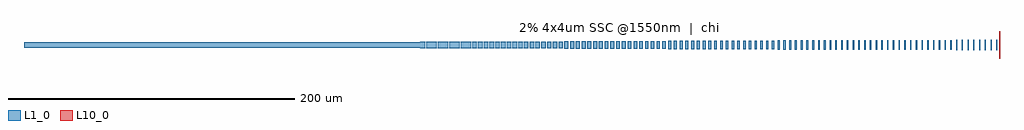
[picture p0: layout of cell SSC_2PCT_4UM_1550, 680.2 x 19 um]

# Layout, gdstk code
import gdstk
lib = gdstk.Library(unit=1e-6, precision=1e-09)
def R(c, l, rs):  # rectangles x0, y0, x1, y1
    for r in rs: c.add(gdstk.rectangle(r[:2], r[2:], *l))
L1_0 = (1, 0)
L10_0 = (10, 0)

ssc_2pct_4um_1550 = lib.new_cell('SSC_2PCT_4UM_1550')
R(ssc_2pct_4um_1550, L1_0, [(523.6,-3.5,524.4,3.5), (527.6,-3.5,528.4,3.5), (519.599,-3.499,520.401,3.499), (515.598,-3.498,516.402,3.498), (511.596,-3.496,512.404,3.496), (507.593,-3.493,508.407,3.493), (503.591,-3.491,504.409,3.491), (499.587,-3.487,500.413,3.487), (495.583,-3.483,496.417,3.483), (491.579,-3.479,492.421,3.479), (487.574,-3.474,488.426,3.474), (483.569,-3.469,484.431,3.469), (479.563,-3.463,480.437,3.463), (475.556,-3.456,476.444,3.456), (471.549,-3.449,472.451,3.449), (467.542,-3.442,468.458,3.442), (463.534,-3.434,464.466,3.434), (459.526,-3.426,460.474,3.426), (455.517,-3.417,456.483,3.417), (451.508,-3.408,452.492,3.408), (447.498,-3.398,448.502,3.398), (443.488,-3.388,444.512,3.388), (439.477,-3.377,440.523,3.377), (435.466,-3.366,436.534,3.366), (431.454,-3.354,432.546,3.354), (427.442,-3.342,428.558,3.342), (423.43,-3.33,424.57,3.33), (419.417,-3.317,420.583,3.317), (415.404,-3.304,416.596,3.304), (411.391,-3.291,412.609,3.291), (407.377,-3.277,408.623,3.277), (403.363,-3.263,404.637,3.263), (399.348,-3.248,400.652,3.248), (395.333,-3.233,396.667,3.233), (391.318,-3.218,392.682,3.218), (387.302,-3.202,388.698,3.202), (383.286,-3.186,384.714,3.186), (379.27,-3.17,380.73,3.17), (375.253,-3.153,376.747,3.153), (371.236,-3.136,372.764,3.136), (367.219,-3.119,368.781,3.119), (363.202,-3.102,364.798,3.102), (359.184,-3.084,360.816,3.084), (355.166,-3.066,356.834,3.066), (351.148,-3.048,352.852,3.048), (347.13,-3.03,348.87,3.03), (343.112,-3.012,344.888,3.012), (339.093,-2.993,340.907,2.993), (335.074,-2.974,336.926,2.974), (331.055,-2.955,332.945,2.955), (327.036,-2.936,328.964,2.936), (323.017,-2.917,324.983,2.917), (318.998,-2.898,321.002,2.898), (314.978,-2.878,317.022,2.878), (310.959,-2.859,313.041,2.859), (306.939,-2.839,309.061,2.839), (302.919,-2.819,305.081,2.819), (298.899,-2.799,301.101,2.799), (294.88,-2.78,297.12,2.78), (290.86,-2.76,293.14,2.76), (286.84,-2.74,289.16,2.74), (282.82,-2.72,285.18,2.72), (278.801,-2.701,281.199,2.701), (274.781,-2.681,277.219,2.681), (270.761,-2.661,273.239,2.661), (266.741,-2.641,269.259,2.641), (262.722,-2.622,265.278,2.622), (258.702,-2.602,261.298,2.602), (254.683,-2.583,257.317,2.583), (250.664,-2.564,253.336,2.564), (246.645,-2.545,249.355,2.545), (242.626,-2.526,245.374,2.526), (238.607,-2.507,241.393,2.507), (234.588,-2.488,237.412,2.488), (230.57,-2.47,233.43,2.47), (226.552,-2.452,229.448,2.452), (222.534,-2.434,225.466,2.434), (218.516,-2.416,221.484,2.416), (214.498,-2.398,217.502,2.398), (210.481,-2.381,213.519,2.381), (206.464,-2.364,209.536,2.364), (202.447,-2.347,205.553,2.347), (198.43,-2.33,201.57,2.33), (194.414,-2.314,197.586,2.314), (190.398,-2.298,193.602,2.298), (186.382,-2.282,189.618,2.282), (182.367,-2.267,185.633,2.267), (178.352,-2.252,181.648,2.252), (174.337,-2.237,177.663,2.237), (170.323,-2.223,173.677,2.223), (166.309,-2.209,169.691,2.209), (162.296,-2.196,165.704,2.196), (158.283,-2.183,161.717,2.183), (154.27,-2.17,157.73,2.17), (150.258,-2.158,153.742,2.158), (146.246,-2.146,149.754,2.146), (142.234,-2.134,145.766,2.134), (138.223,-2.123,141.777,2.123), (134.212,-2.112,137.788,2.112), (130.202,-2.102,133.798,2.102), (126.192,-2.092,129.808,2.092), (122.183,-2.083,125.817,2.083), (118.174,-2.074,121.826,2.074), (114.166,-2.066,117.834,2.066), (110.158,-2.058,113.842,2.058), (106.151,-2.051,109.849,2.051), (102.144,-2.044,105.856,2.044), (98.137,-2.037,101.863,2.037), (94.131,-2.031,97.869,2.031), (90.126,-2.026,93.874,2.026), (86.121,-2.021,89.879,2.021), (82.117,-2.017,85.883,2.017), (78.113,-2.013,81.887,2.013), (74.109,-2.009,77.891,2.009), (70.107,-2.007,73.893,2.007), (66.104,-2.004,69.896,2.004), (62.102,-2.002,65.898,2.002), (58.101,-2.001,61.899,2.001), (-150,-2,0,2), (0,-2,50,2), (50.1,-2,53.9,2), (54.1,-2,57.9,2)])
R(ssc_2pct_4um_1550, L10_0, [(529.8,-9.5,530.2,9.5)])
ssc_2pct_4um_1550.add(gdstk.Label('2% 4x4um SSC @1550nm  |  chip 4um -> facet 7.0um/duty0.20  |  L=530um  |  SMF-28 coupling 0.114 dB (mode-overlap)', (265,12.5), layer=63, texttype=0))

lib.write_gds('SSC_2PCT_4UM_1550.gds')
